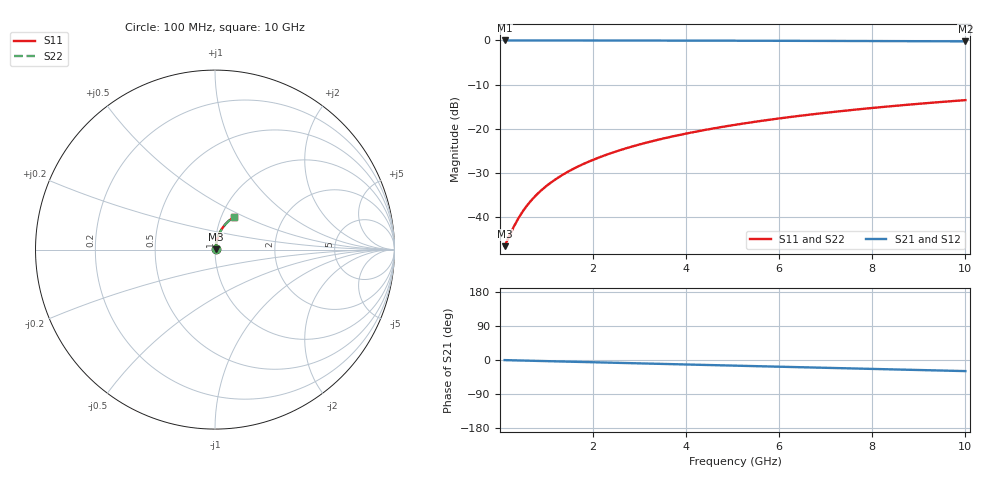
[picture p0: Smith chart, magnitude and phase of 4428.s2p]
# Hz S RI R 50.00
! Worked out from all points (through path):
!   100 points, 100 MHz to 10 GHz, reference 50 ohm
!   highest |S21| = -0.04 dB at 100 MHz (marker M1); lowest = -0.2 dB at 10 GHz (marker M2)
!   group delay of S21, straight-line fit = 8.14 ps
!   lowest |S11| = -46.5 dB at 100 MHz (marker M3), VSWR 1.01, Z = 50.4 + j0.223 ohm
!   |S11| at or under -10 dB: start of sweep to end of sweep
!   |S22| runs from -46.5 to -13.5 dB; largest |S21 - S12| = 0
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1e8  0.0042 0.00221  0.9958 -0.00514  0.9958 -0.00514  0.0042 0.00221
3e8  0.00434 0.00663  0.9956 -0.0154  0.9956 -0.0154  0.00434 0.00663
4e8  0.00443 0.00884  0.9955 -0.0206  0.9955 -0.0206  0.00443 0.00884
5e8  0.00455 0.011  0.9953 -0.0257  0.9953 -0.0257  0.00455 0.011
6e8  0.00469 0.0132  0.9951 -0.0309  0.9951 -0.0309  0.00469 0.0132
7e8  0.00484 0.0155  0.9949 -0.036  0.9949 -0.036  0.00484 0.0155
9e8  0.00523 0.0199  0.9944 -0.0463  0.9944 -0.0463  0.00523 0.0199
1e9  0.00545 0.022  0.9941 -0.0514  0.9941 -0.0514  0.00545 0.022
1.2e9  0.00597 0.0264  0.9934 -0.0617  0.9934 -0.0617  0.00597 0.0264
1.5e9  0.00691 0.033  0.9921 -0.077  0.9921 -0.077  0.00691 0.033
1.8e9  0.00805 0.0395  0.9905 -0.0924  0.9905 -0.0924  0.00805 0.0395
2.1e9  0.00939 0.046  0.9886 -0.1077  0.9886 -0.1077  0.00939 0.046
2.5e9  0.0115 0.0546  0.9857 -0.128  0.9857 -0.128  0.0115 0.0546
2.9e9  0.0139 0.063  0.9823 -0.1482  0.9823 -0.1482  0.0139 0.063
3.4e9  0.0175 0.0734  0.9774 -0.1733  0.9774 -0.1733  0.0175 0.0734
4.2e9  0.0242 0.0896  0.968 -0.2131  0.968 -0.2131  0.0242 0.0896
5.1e9  0.0334 0.1071  0.9552 -0.257  0.9552 -0.257  0.0334 0.1071
5.9e9  0.0428 0.1218  0.9419 -0.2953  0.9419 -0.2953  0.0428 0.1218
6.7e9  0.0533 0.1357  0.9269 -0.3327  0.9269 -0.3327  0.0533 0.1357
7.5e9  0.0649 0.1486  0.9102 -0.3691  0.9102 -0.3691  0.0649 0.1486
8.4e9  0.0792 0.1619  0.8896 -0.4089  0.8896 -0.4089  0.0792 0.1619
1e10  0.107 0.182  0.8484 -0.476  0.8484 -0.476  0.107 0.182
